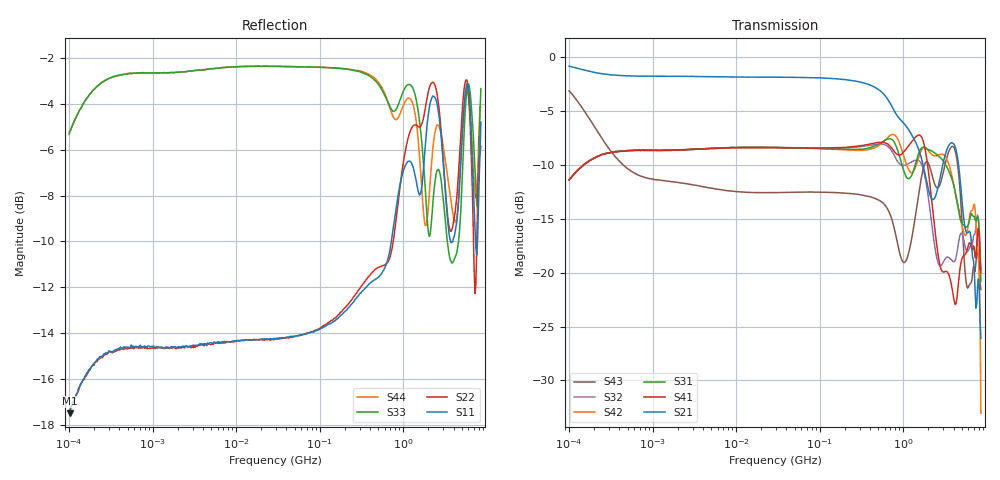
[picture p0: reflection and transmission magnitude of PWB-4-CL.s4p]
# MHz S MA R 50
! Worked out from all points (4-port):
!   498 points, 100 kHz to 8.5 GHz, reference 50 ohm
!   strongest paths, dB at 100 kHz, 1.698 MHz, 29.49 MHz, 500.7 MHz, 8.5 GHz:
!     S21: -0.9, -1.8, -1.9, -3.0, -26.1
!     S41: -11.4, -8.7, -8.4, -8.0, -20.0
!     S31: -11.4, -8.7, -8.4, -8.1, -20.8
!     S42: -11.4, -8.7, -8.4, -8.3, -33.0
!     S32: -11.4, -8.7, -8.4, -8.1, -19.7
!     S43: -3.2, -11.6, -12.6, -13.3, -21.6
!   lowest |S11| = -17.5 dB at 102.3 kHz (marker M1), VSWR 1.31, Z = 60 + j10.9 ohm
!   |S11| at or under -10 dB: start of sweep to 720.6 MHz; 3.695 GHz to 3.912 GHz (216.9 MHz wide, 5.7 % of centre); 7.347 GHz to 7.749 GHz (402 MHz wide, 5.33 % of centre)
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0.1  0.1336 43.1  0.9033 -5.9  0.2686 43.5  0.2678 -136.7
     0.9033 -5.9  0.1338 45.9  0.2687 -137.1  0.2695 42.7
     0.2686 43.5  0.2687 -137.1  0.5413 41.9  0.6948 -31.6
     0.2678 -136.7  0.2695 42.7  0.6948 -31.6  0.5457 41.8
0.1023101  0.1335 41.9  0.9012 -5.9  0.2726 43.1  0.2719 -137.0
           0.9012 -5.9  0.1349 44.2  0.2725 -137.3  0.273 42.5
           0.2726 43.1  0.2725 -137.3  0.5494 41.3  0.6881 -32.1
           0.2719 -137.0  0.273 42.5  0.6881 -32.1  0.5517 41.5
171.1518  0.2167 -0.2  0.7877 -31.4  0.3734 -17.1  0.3788 141.1
          0.7877 -31.4  0.2196 -1.8  0.377 141.5  0.3714 -18.0
          0.3734 -17.1  0.377 141.5  0.7535 -20.2  0.2342 -36.9
          0.3788 141.1  0.3714 -18.0  0.2342 -36.9  0.7545 -21.7
1431.488  0.428 -133.3  0.3954 104.9  0.3275 -127.8  0.4269 -99.3
          0.3954 104.9  0.5666 -127.6  0.3318 -95.7  0.3142 -141.3
          0.3275 -127.8  0.3318 -95.7  0.6433 -159.5  0.1942 19.6
          0.4269 -99.3  0.3142 -141.3  0.1942 19.6  0.5771 -164.8
4284.188  0.3415 7.7  0.3694 -24.4  0.2259 -74.9  0.07173 -27.7
          0.3694 -24.4  0.3807 -11.7  0.1174 -14.8  0.2239 -110.5
          0.2259 -74.9  0.1174 -14.8  0.2955 -10.8  0.3522 -40.3
          0.07173 -27.7  0.2239 -110.5  0.3522 -40.3  0.3501 -3.7
6920.76  0.4098 165.4  0.114 60.9  0.182 24.2  0.1329 67.8
         0.114 60.9  0.3256 161.3  0.1469 85.4  0.2022 -24.1
         0.182 24.2  0.1469 85.4  0.5311 -168.8  0.1063 89.8
         0.1329 67.8  0.2022 -24.1  0.1063 89.8  0.4515 172.8
8500  0.5755 -50.4  0.04951 -84.5  0.09107 -159.4  0.1001 -126.8
      0.04951 -84.5  0.5097 -60.5  0.1029 -120.5  0.02228 120.3
      0.09107 -159.4  0.1029 -120.5  0.6806 -42.1  0.08351 -126.7
      0.1001 -126.8  0.02228 120.3  0.08351 -126.7  0.6196 -67.3
